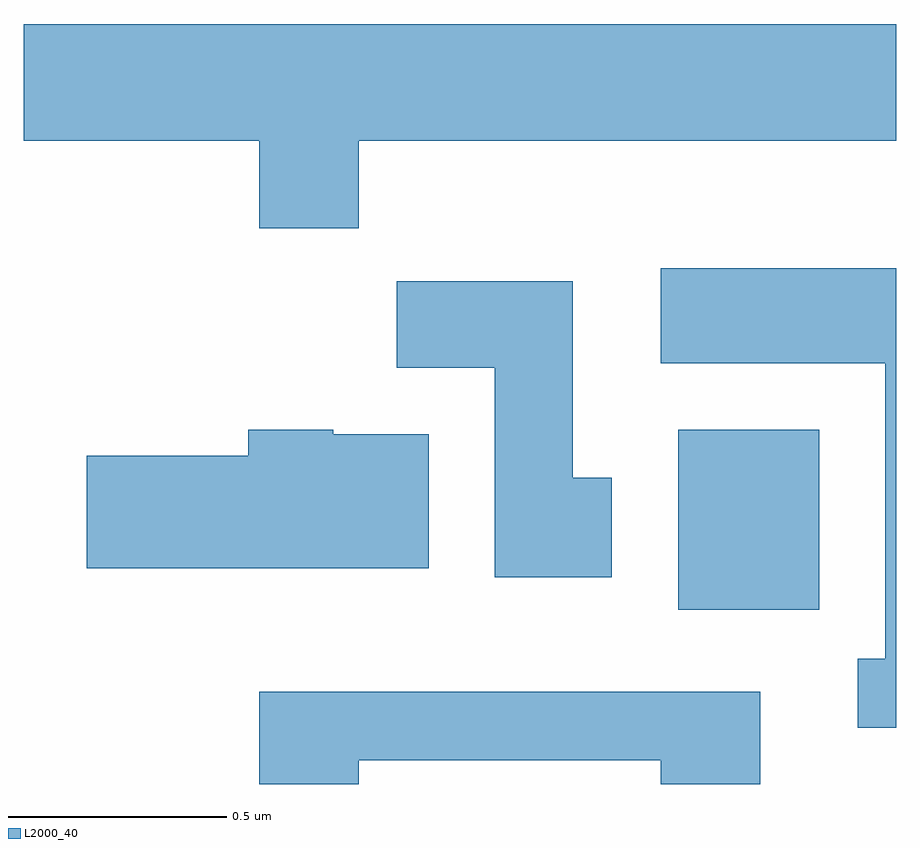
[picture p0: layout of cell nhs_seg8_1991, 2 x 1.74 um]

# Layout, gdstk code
import gdstk
lib = gdstk.Library(unit=1e-6, precision=1e-09)
def R(c, l, rs):  # rectangles x0, y0, x1, y1
    for r in rs: c.add(gdstk.rectangle(r[:2], r[2:], *l))
def P(c, l, *ps):  # polygons
    for p in ps: c.add(gdstk.Polygon(p, *l))
L2000_40 = (2000, 40)

nhs_seg8_1991 = lib.new_cell('nhs_seg8_1991')
R(nhs_seg8_1991, L2000_40, [(201.111,1879.741,201.434,1880.154)])
P(nhs_seg8_1991, L2000_40, [(200.379,1880.816),(201.611,1880.816),(201.611,1881.084),(199.611,1881.084),(199.611,1880.816),(200.151,1880.816),(200.151,1880.616),(200.379,1880.616)],
  [(201.611,1880.524),(201.071,1880.524),(201.071,1880.306),(201.586,1880.306),(201.586,1879.629),(201.523,1879.629),(201.523,1879.471),(201.611,1879.471)],
  [(200.959,1880.044),(200.869,1880.044),(200.869,1880.494),(200.466,1880.494),(200.466,1880.296),(200.691,1880.296),(200.691,1879.816),(200.959,1879.816)],
  [(200.539,1880.144),(200.32,1880.144),(200.32,1880.154),(200.126,1880.154),(200.126,1880.094),(199.756,1880.094),(199.756,1879.836),(200.539,1879.836)],
  [(200.379,1879.396),(201.071,1879.396),(201.071,1879.342),(201.299,1879.342),(201.299,1879.554),(200.151,1879.554),(200.151,1879.342),(200.379,1879.342)])

lib.write_gds('nhs_seg8_1991.gds')
